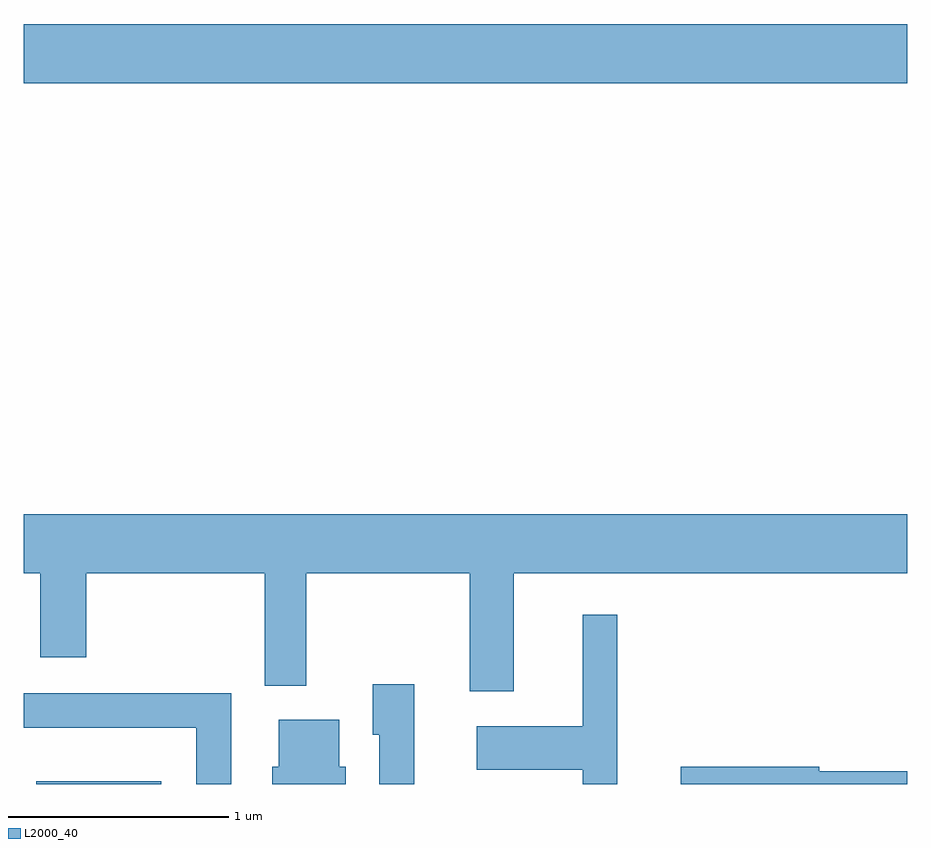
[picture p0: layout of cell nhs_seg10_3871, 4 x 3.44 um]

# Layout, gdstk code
import gdstk
lib = gdstk.Library(unit=1e-6, precision=1e-09)
def R(c, l, rs):  # rectangles x0, y0, x1, y1
    for r in rs: c.add(gdstk.rectangle(r[:2], r[2:], *l))
def P(c, l, *ps):  # polygons
    for p in ps: c.add(gdstk.Polygon(p, *l))
L2000_40 = (2000, 40)

nhs_seg10_3871 = lib.new_cell('nhs_seg10_3871')
R(nhs_seg10_3871, L2000_40, [(299.666,2108.522,300.234,2108.534), (299.611,2111.696,303.611,2111.964)])
P(nhs_seg10_3871, L2000_40, [(301.829,2109.476),(303.611,2109.476),(303.611,2109.744),(299.611,2109.744),(299.611,2109.476),(299.686,2109.476),(299.686,2109.096),(299.894,2109.096),(299.894,2109.476),(300.701,2109.476),(300.701,2108.966),(300.889,2108.966),(300.889,2109.476),(301.631,2109.476),(301.631,2108.941),(301.829,2108.941)],
  [(302.299,2109.288),(302.141,2109.288),(302.141,2108.784),(301.661,2108.784),(301.661,2108.586),(302.141,2108.586),(302.141,2108.522),(302.299,2108.522)],
  [(301.379,2108.974),(301.191,2108.974),(301.191,2108.746),(301.221,2108.746),(301.221,2108.522),(301.379,2108.522)],
  [(300.549,2108.934),(299.611,2108.934),(299.611,2108.776),(300.391,2108.776),(300.391,2108.522),(300.549,2108.522)],
  [(301.069,2108.599),(301.039,2108.599),(301.039,2108.814),(300.766,2108.814),(300.766,2108.599),(300.736,2108.599),(300.736,2108.522),(301.069,2108.522)],
  [(303.611,2108.579),(303.214,2108.579),(303.214,2108.599),(302.586,2108.599),(302.586,2108.522),(303.611,2108.522)])

lib.write_gds('nhs_seg10_3871.gds')
